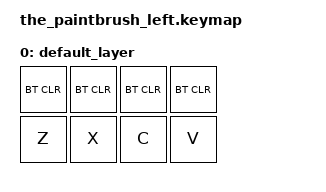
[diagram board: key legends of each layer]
/*
 * Copyright (c) 2021 Mike "KemoNine" Crosson
 *
 * SPDX-License-Identifier: MIT
 */

#include <behaviors.dtsi>
#include <dt-bindings/zmk/keys.h>
#include <dt-bindings/zmk/bt.h>

/ {
    keymap {
        compatible = "zmk,keymap";

        default_layer {
            bindings = <
            &bt BT_CLR &bt BT_CLR &bt BT_CLR &bt BT_CLR
            &kp Z &kp X &kp C &kp V
            >;
        };
    };
};
